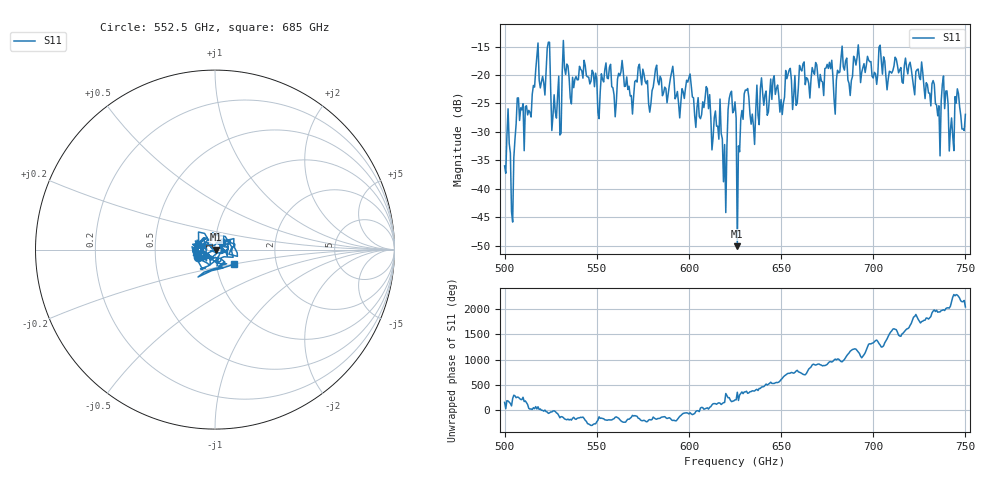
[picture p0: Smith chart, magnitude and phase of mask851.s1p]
!Created with skrf (http://scikit-rf.org).
# GHz S MA R 50.0
!freq magS11 angS11
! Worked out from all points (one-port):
!   401 points, 500 GHz to 750 GHz, reference 50 ohm
!   lowest |S11| = -50.1 dB at 626.2 GHz (marker M1), VSWR 1.01, Z = 50.3 - j0.0248 ohm
!   |S11| at or under -10 dB: start of sweep to end of sweep
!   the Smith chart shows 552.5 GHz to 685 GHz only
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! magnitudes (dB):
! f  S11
! 500 GHz  -36.0
! 501.9 GHz  -25.9
! 504.4 GHz  -45.8
! 507.5 GHz  -24.0
! 513.8 GHz  -26.6
! 516.9 GHz  -19.1
! 523.8 GHz  -14.2
! 526.9 GHz  -23.5
! 531.2 GHz  -19.6
! 533.1 GHz  -19.9
! 550.6 GHz  -26.6
! 562.5 GHz  -20.1
! 593.8 GHz  -22.9
! 610 GHz  -22.4
! 619.4 GHz  -32.2
! 623.8 GHz  -26.6
! 625 GHz  -24.7
! 626.2 GHz  -50.1
! 631.2 GHz  -22.7
! 634.4 GHz  -26.9
! 656.2 GHz  -26.1
! 687.5 GHz  -23.6
! 718.8 GHz  -19.8
! 735 GHz  -27.2
! 738.8 GHz  -25.9
! 742.5 GHz  -27.5
! 745.6 GHz  -22.4
! 750 GHz  -26.9
